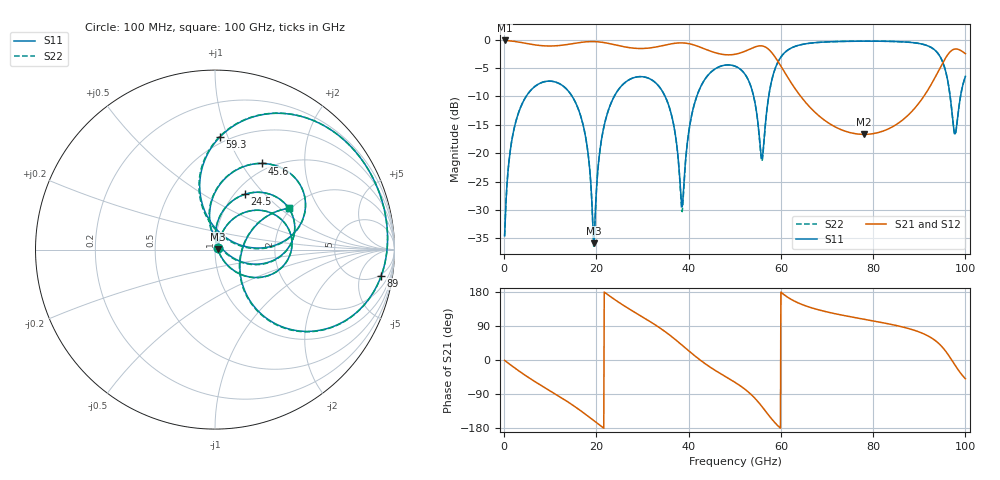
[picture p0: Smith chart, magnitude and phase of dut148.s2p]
! Touchstone file exported from HFSS 2026.1.0
!  File:  C:/ffzhzh/LocalFiles/Ansys_Project_Files/temp_train_TSV_RDL_148_1783463701_50928.aedt
!  Generated:  06:45:26 AM Jul  8, 2026
!  Design:  TSV_RDL
!  Project:  temp_train_TSV_RDL_148_1783463701_50928
! Variables:
!  h_bsmrdl = 4.95um
!  h_ox = 20um
!  h_rdl = 5um
!  h_sub = 99.5um
!  h_tmrdl = 2.71um
!  h_tsv = 99.5um
!  h_via = 3um
!  l_bsmrdl = 211.78um
!  l_sub = 2288.83um
!  l_tmrdl = 283.26um
!  m_sub = 200um
!  pitch = 48.59um
!  r_tsv = 11.84um
!  s_tmrdl = 10um
!  w_bsmrdl = 29.44um
!  w_sub = 500um
!  w_tmrdl = 10.71um
!  x_tsv_center1 = 288.615um
!  x_tsv_center2 = 529.835um
!  x_tsv_center3 = 823.805um
!  x_tsv_center4 = 1065.025um
!  x_tsv_center5 = 1358.995um
!  x_tsv_center6 = 1600.215um
# GHz S MA R 50.000000
! Terminal data exported
! Port[1] = TM_RDL1_1_T1
! Port[2] = TM_RDL5_1_T1
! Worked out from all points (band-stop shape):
!   1000 points, 100 MHz to 100 GHz, reference 50 ohm
!   highest |S21| = -0.15 dB at 100 MHz (marker M1); lowest = -16.7 dB at 78 GHz (marker M2)
!   |S21| within 3 dB of the highest: start of sweep to 58.81 GHz; 95.77 GHz to end of sweep
!   lowest |S11| = -35.9 dB at 19.4 GHz (marker M3), VSWR 1.03, Z = 51.6 + j0.156 ohm
!   |S11| at or under -10 dB: start of sweep to 4.77 GHz; 14.75 GHz to 23.86 GHz (9.109 GHz wide, 47.2 % of centre); 34.9 GHz to 41.75 GHz (6.851 GHz wide, 17.9 % of centre)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
!   |S22| runs from -36.4 to -0.3 dB; largest |S21 - S12| = 1.3e-12
!   S11 on the Smith chart (normalised r, x): 100 MHz: 1.03, +0.02; 24.5 GHz: 1.11, +0.78; 45.6 GHz: 0.91, +1.24; 59.3 GHz: 0.45, +0.94; 89 GHz: 5, -11; 100 GHz: 1.96, +1.16
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0.1  0.0187 26.0  0.9833 -1.0  0.9833 -1.0  0.0187 26.0
! Gamma 0 0 0 0
! Port Impedance 50 0 50 0
1.9  0.1466 64.3  0.9685 -17.5  0.9685 -17.5  0.1466 64.3
5.3  0.3395 40.0  0.9175 -46.3  0.9175 -46.3  0.3395 39.9
16.8  0.1989 -43.8  0.9474 -135.7  0.9474 -135.7  0.1989 -44.1
19.4  0.01602 5.4  0.9611 -159.6  0.9611 -159.6  0.01518 4.3
21.4  0.1542 84.6  0.9454 -178.1  0.9454 -178.1  0.154 84.8
24.5  0.3495 61.7  0.8914 155.0  0.8914 155.0  0.3495 61.7
33.4  0.3948 -1.1  0.8687 87.6  0.8687 87.6  0.3947 -1.5
36.5  0.199 -22.8  0.9223 60.0  0.9223 60.0  0.1987 -23.7
38.6  0.03381 43.5  0.9359 38.9  0.9359 38.9  0.03059 43.9
41.1  0.2582 94.9  0.8985 13.3  0.8985 13.3  0.2577 95.5
45.6  0.5476 61.2  0.7703 -26.2  0.7703 -26.2  0.5474 61.4
50.1  0.5829 31.4  0.7436 -59.4  0.7436 -59.4  0.5827 31.3
55.9  0.08967 55.4  0.8802 -122.9  0.8802 -122.9  0.08514 55.4
59.3  0.628 87.5  0.6488 -173.0  0.6488 -173.0  0.6273 87.9
66.7  0.9344 43.9  0.2442 137.5  0.2442 137.5  0.9342 44.0
78  0.9692 16.9  0.1464 107.6  0.1464 107.6  0.9692 16.8
83.4  0.9656 5.9  0.1643 95.2  0.1643 95.2  0.9656 5.8
89  0.9374 -9.0  0.2483 78.1  0.2483 78.1  0.9374 -9.1
95.1  0.6317 -45.4  0.6251 32.6  0.6251 32.6  0.6315 -45.7
97.7  0.1481 -14.8  0.8264 -12.6  0.8264 -12.6  0.146 -15.1
100  0.4743 29.0  0.7529 -49.5  0.7529 -49.5  0.4737 29.1
